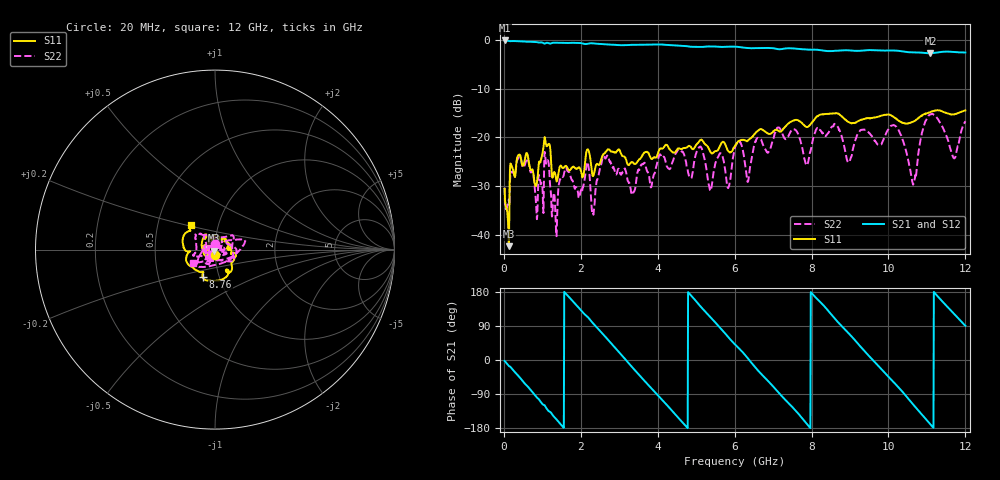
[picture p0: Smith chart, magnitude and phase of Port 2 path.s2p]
! RsaToolbox (C) 2015 Rohde & Schwarz America
! Number of points: 1199
! Number of ports: 2
! Balanced ports?: No
# Hz S RI R 50
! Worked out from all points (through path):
!   1199 points, 20 MHz to 12 GHz, reference 50 ohm
!   highest |S21| = -0.01 dB at 30 MHz (marker M1); lowest = -2.6 dB at 11.09 GHz (marker M2)
!   group delay of S21, straight-line fit = 312 ps
!   lowest |S11| = -42.4 dB at 130 MHz (marker M3), VSWR 1.02, Z = 49.5 - j0.574 ohm
!   |S11| at or under -10 dB: start of sweep to end of sweep
!   |S22| runs from -40.3 to -15.1 dB; largest |S21 - S12| = 0
!   S11 on the Smith chart (normalised r, x): 20 MHz: 1.00, -0.06; 8.76 GHz: 0.83, -0.26; 12 GHz: 0.74, +0.21
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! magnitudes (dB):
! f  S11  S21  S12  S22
! 20 MHz  -30.6  0.0  0.0  -30.3
! 30 MHz  -32.9  0.0  0.0  -34.0
! 130 MHz  -42.4  -0.1  -0.1  -32.8
! 380 MHz  -23.6  -0.2  -0.2  -24.2
! 840 MHz  -29.8  -0.3  -0.3  -34.1
! 1.09 GHz  -21.3  -0.5  -0.5  -25.0
! 1.35 GHz  -28.2  -0.5  -0.5  -37.4
! 1.61 GHz  -25.8  -0.5  -0.5  -26.2
! 2.02 GHz  -27.4  -0.6  -0.6  -30.5
! 4.02 GHz  -22.9  -0.8  -0.8  -24.2
! 5.11 GHz  -20.5  -1.4  -1.4  -21.9
! 5.37 GHz  -23.0  -1.2  -1.2  -31.0
! 6.01 GHz  -21.7  -1.3  -1.3  -21.9
! 6.34 GHz  -20.6  -1.6  -1.6  -29.2
! 7.13 GHz  -18.6  -1.8  -1.8  -17.9
! 8.01 GHz  -16.9  -1.9  -1.9  -21.5
! 8.76 GHz  -15.5  -2.1  -2.1  -19.2
! 10.01 GHz  -15.3  -2.1  -2.1  -18.1
! 10.66 GHz  -16.7  -2.5  -2.5  -29.3
! 11.09 GHz  -14.8  -2.6  -2.6  -15.2
! 11.7 GHz  -15.2  -2.4  -2.4  -24.2
! 12 GHz  -14.4  -2.5  -2.5  -16.7
